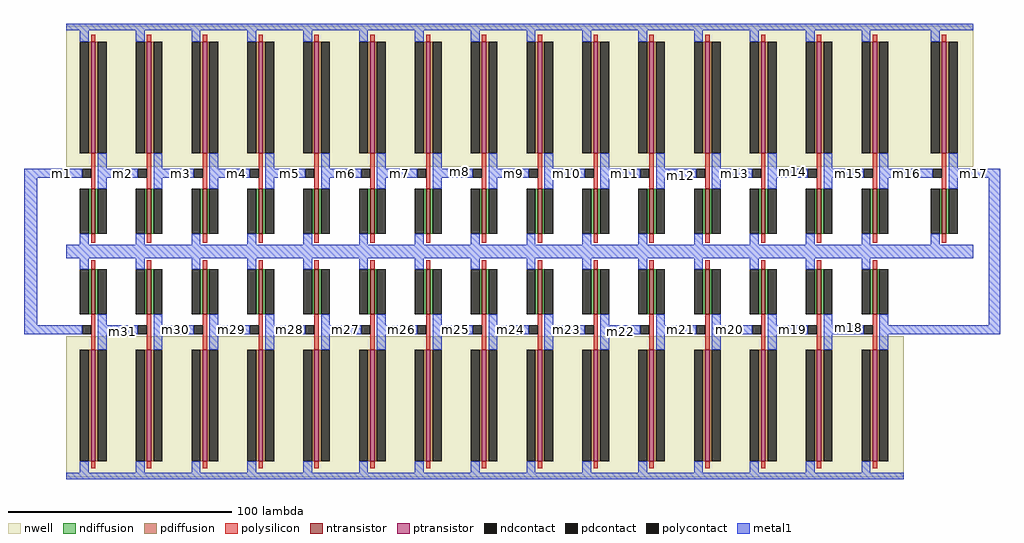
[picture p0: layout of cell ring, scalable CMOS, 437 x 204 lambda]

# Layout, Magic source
magic
tech scmos
<< nwell >>
rect 375 38 381 101
<< metal1 >>
rect 373 99 383 102
rect -19 33 0 37
rect 375 33 381 37
rect 401 33 418 37
rect -19 -33 -13 33
rect 375 2 381 3
rect 374 -3 406 2
rect 413 -33 418 33
rect -19 -37 1 -33
rect 372 -37 418 -33
use inverter  inverter_0
array 0 14 25 0 0 102
transform 1 0 9 0 1 38
box -9 -38 16 64
use inverter  inverter_2
transform 1 0 390 0 1 38
box -9 -38 16 64
use inverter  inverter_1
array 0 14 25 0 0 -102
transform 1 0 9 0 -1 -38
box -9 -38 16 64
<< labels >>
rlabel metal1 -2 35 -2 35 1 m1
rlabel space 25 35 25 35 1 m2
rlabel space 51 35 51 35 1 m3
rlabel space 76 35 76 35 1 m4
rlabel space 100 35 100 35 1 m5
rlabel space 125 35 125 35 1 m6
rlabel space 149 35 149 35 1 m7
rlabel space 176 36 176 36 1 m8
rlabel space 200 35 200 35 1 m9
rlabel space 224 35 224 35 1 m10
rlabel space 250 35 250 35 1 m11
rlabel space 275 34 275 34 1 m12
rlabel space 299 35 299 35 1 m13
rlabel space 325 36 325 36 1 m14
rlabel space 350 35 350 35 1 m15
rlabel metal1 376 35 376 35 1 m16
rlabel metal1 406 35 406 35 1 m17
rlabel space 350 -34 350 -34 1 m18
rlabel space 325 -35 325 -35 1 m19
rlabel space 297 -35 297 -35 1 m20
rlabel space 275 -35 275 -35 1 m21
rlabel space 248 -36 248 -36 1 m22
rlabel space 224 -35 224 -35 1 m23
rlabel space 199 -35 199 -35 1 m24
rlabel space 174 -35 174 -35 1 m25
rlabel space 150 -35 150 -35 1 m26
rlabel space 125 -35 125 -35 1 m27
rlabel space 100 -35 100 -35 1 m28
rlabel space 74 -35 74 -35 1 m29
rlabel space 49 -35 49 -35 1 m30
rlabel space 25 -36 25 -36 1 m31
<< end >>

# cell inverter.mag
magic
tech scmos
<< nwell >>
rect -9 0 16 63
<< ntransistor >>
rect 2 -30 4 -10
<< ptransistor >>
rect 2 6 4 56
<< ndiffusion >>
rect 1 -30 2 -10
rect 4 -30 5 -10
<< pdiffusion >>
rect 1 6 2 56
rect 4 6 5 56
<< ndcontact >>
rect -3 -30 1 -10
rect 5 -30 9 -10
<< pdcontact >>
rect -3 6 1 56
rect 5 6 9 56
<< polysilicon >>
rect 2 56 4 59
rect 2 -10 4 6
rect 2 -34 4 -30
<< polycontact >>
rect -2 -5 2 -1
<< metal1 >>
rect -9 61 16 64
rect -3 56 1 61
rect 5 -1 9 6
rect -9 -5 -2 -1
rect 5 -5 16 -1
rect 5 -10 9 -5
rect -3 -35 1 -30
rect -9 -38 16 -35
<< end >>
